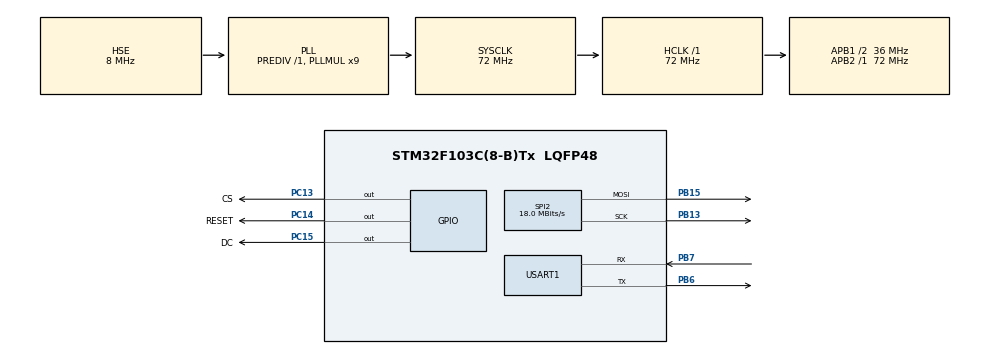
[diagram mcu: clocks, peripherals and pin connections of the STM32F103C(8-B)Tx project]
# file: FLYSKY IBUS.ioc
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Dma.Request0=USART1_RX
Dma.USART1_RX.0.Direction=DMA_PERIPH_TO_MEMORY
Dma.USART1_RX.0.Instance=DMA1_Channel5
Dma.USART1_RX.0.MemDataAlignment=DMA_MDATAALIGN_BYTE
Dma.USART1_RX.0.MemInc=DMA_MINC_ENABLE
Dma.USART1_RX.0.Mode=DMA_NORMAL
Dma.USART1_RX.0.PeriphDataAlignment=DMA_PDATAALIGN_BYTE
Dma.USART1_RX.0.PeriphInc=DMA_PINC_DISABLE
Dma.USART1_RX.0.Priority=DMA_PRIORITY_LOW
Mcu.Family=STM32F1
Mcu.Name=STM32F103C(8-B)Tx
Mcu.Package=LQFP48
NVIC.DMA1_Channel5_IRQn=true\:0\:0\:false\:false\:true\:false\:true\:true
NVIC.PriorityGroup=NVIC_PRIORITYGROUP_4
PB13.Mode=TX_Only_Simplex_Unidirect_Master
PB13.Signal=SPI2_SCK
PB15.Mode=TX_Only_Simplex_Unidirect_Master
PB15.Signal=SPI2_MOSI
PB6.Mode=Asynchronous
PB6.Signal=USART1_TX
PB7.Mode=Asynchronous
PB7.Signal=USART1_RX
PC13-TAMPER-RTC.GPIO_Label=CS
PC13-TAMPER-RTC.Signal=GPIO_Output
PC14-OSC32_IN.GPIO_Label=RESET
PC14-OSC32_IN.Signal=GPIO_Output
PC15-OSC32_OUT.GPIO_Label=DC
PC15-OSC32_OUT.Signal=GPIO_Output
PD0-OSC_IN.Mode=HSE-External-Oscillator
PD0-OSC_IN.Signal=RCC_OSC_IN
PD1-OSC_OUT.Mode=HSE-External-Oscillator
PD1-OSC_OUT.Signal=RCC_OSC_OUT
ProjectManager.HeapSize=0x200
ProjectManager.StackSize=0x400
ProjectManager.TargetToolchain=STM32CubeIDE
RCC.AHBFreq_Value=72000000
RCC.APB1CLKDivider=RCC_HCLK_DIV2
RCC.APB1Freq_Value=36000000
RCC.APB1TimFreq_Value=72000000
RCC.APB2Freq_Value=72000000
RCC.APB2TimFreq_Value=72000000
RCC.HCLKFreq_Value=72000000
RCC.PLLMUL=RCC_PLL_MUL9
RCC.PLLSourceVirtual=RCC_PLLSOURCE_HSE
RCC.SYSCLKFreq_VALUE=72000000
RCC.SYSCLKSource=RCC_SYSCLKSOURCE_PLLCLK
RCC.USBFreq_Value=72000000
SPI2.CalculateBaudRate=18.0 MBits/s
SPI2.Direction=SPI_DIRECTION_2LINES
SPI2.Mode=SPI_MODE_MASTER
SPI2.VirtualType=VM_MASTER
USART1.VirtualMode=VM_ASYNC
board=custom

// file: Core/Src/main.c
/* USER CODE BEGIN Header */
/**
  ******************************************************************************
  * @file           : main.c
  * @brief          : Main program body
  ******************************************************************************
  * @attention
  *
  * Copyright (c) 2024 STMicroelectronics.
  * All rights reserved.
  *
  * This software is licensed under terms that can be found in the LICENSE file
  * in the root directory of this software component.
  * If no LICENSE file comes with this software, it is provided AS-IS.
  *
  ******************************************************************************
  */
/* USER CODE END Header */
#include "main.h"

/* USER CODE BEGIN Includes */
#include <stdio.h>
#include <ILI9341.h>
#include "J3_IBUS_FLYSKY.h"

#include "008_Open_Sans_Bold.h"
#include "009_Open_Sans_Bold.h"
#include "010_Open_Sans_Bold.h"
#include "012_Open_Sans_Bold.h"
#include "014_Open_Sans_Bold.h"
#include "016_Open_Sans_Bold.h"
#include "018_Open_Sans_Bold.h"
#include "020_Open_Sans_Bold.h"
#include "022_Open_Sans_Bold.h"
#include "024_Open_Sans_Bold.h"
#include "026_Open_Sans_Bold.h"
#include "028_Open_Sans_Bold.h"
#include "036_Open_Sans_Bold.h"
#include "048_Open_Sans_Bold.h"
#include "072_Open_Sans_Bold.h"
#include "096_Open_Sans_Bold.h"
#include "112_Open_Sans_Bold.h"
#include "128_Open_Sans_Bold.h"

#define _Open_Sans_Bold_8      &Open_Sans_Bold_8
#define _Open_Sans_Bold_9      &Open_Sans_Bold_9
#define _Open_Sans_Bold_10     &Open_Sans_Bold_10
#define _Open_Sans_Bold_11     &Open_Sans_Bold_11
#define _Open_Sans_Bold_12      &Open_Sans_Bold_12
#define _Open_Sans_Bold_14      &Open_Sans_Bold_14
#define _Open_Sans_Bold_16      &Open_Sans_Bold_16
#define _Open_Sans_Bold_18      &Open_Sans_Bold_18
#define _Open_Sans_Bold_20      &Open_Sans_Bold_20
#define _Open_Sans_Bold_22      &Open_Sans_Bold_22
#define _Open_Sans_Bold_24      &Open_Sans_Bold_24
#define _Open_Sans_Bold_26      &Open_Sans_Bold_26
#define _Open_Sans_Bold_28      &Open_Sans_Bold_28
#define _Open_Sans_Bold_36      &Open_Sans_Bold_36
#define _Open_Sans_Bold_48      &Open_Sans_Bold_48
#define _Open_Sans_Bold_72      &Open_Sans_Bold_72
#define _Open_Sans_Bold_96      &Open_Sans_Bold_96
#define _Open_Sans_Bold_112      &Open_Sans_Bold_112
#define _Open_Sans_Bold_128      &Open_Sans_Bold_128

char buf[20];
char buf1[20];
char buf2[20];
char buf3[20];
char buf4[20];
char buf5[20];
TRxIBus *RxIBus;
/* USER CODE END Includes */

SPI_HandleTypeDef hspi2;

UART_HandleTypeDef huart1;
DMA_HandleTypeDef hdma_usart1_rx;

void SystemClock_Config(void);
static void MX_GPIO_Init(void);
static void MX_DMA_Init(void);
static void MX_SPI2_Init(void);
static void MX_USART1_UART_Init(void);

int main(void)
{

  /* MCU Configuration--------------------------------------------------------*/

  /* Reset of all peripherals, Initializes the Flash interface and the Systick. */
  HAL_Init();

  /* Configure the system clock */
  SystemClock_Config();

  /* Initialize all configured peripherals */
  MX_GPIO_Init();
  MX_DMA_Init();
  MX_SPI2_Init();
  MX_USART1_UART_Init();
  /* USER CODE BEGIN 2 */
  ILI9341_Init();
  ILI9341_FillScreen(WHITE);

  LCD_Font(10, 30, "CHANNEL1", _Open_Sans_Bold_36  , 1, PURPLE);
  LCD_Font(10, 70, "CHANNEL2", _Open_Sans_Bold_36  , 1, BLUE);
  LCD_Font(10, 110, "CHANNEL3", _Open_Sans_Bold_36  , 1, GREEN);
  LCD_Font(10, 150, "CHANNEL4", _Open_Sans_Bold_36  , 1, RED);
  LCD_Font(10, 190, "CHANNEL5", _Open_Sans_Bold_36  , 1, MAGENTA);
  LCD_Font(10, 230, "CHANNEL6", _Open_Sans_Bold_36  , 1, ORANGE);

  RxIBus = J3_IBUS_new(&huart1, 14);

  HAL_UART_Receive_DMA(&huart1, RxIBus->buffer, 64);
  /* USER CODE END 2 */

  /* Infinite loop */
  while (1)
  {
	  HAL_UART_Transmit(&huart1, "CH1:", 4, 100);
	  LCD_Font(230, 30, buf, _Open_Sans_Bold_36  , 1, WHITE);
	  sprintf(buf, "%d", J3_IBUS_GetCh(RxIBus, 1));
	  HAL_UART_Transmit(&huart1, (char*)buf, sprintf(buf, "%d", J3_IBUS_GetCh(RxIBus, 1)), 100);
	  HAL_UART_Transmit(&huart1, "\r\n", 2, 100);
//	  ILI9341_printText(str, 0, 0, COLOR_WHITE, COLOR_BLACK, 1);
	  LCD_Font(230, 30, buf, _Open_Sans_Bold_36  , 1, PURPLE);

	  HAL_UART_Transmit(&huart1, "CH2:", 4, 100);
	  LCD_Font(230, 70, buf1, _Open_Sans_Bold_36  , 1, WHITE);
	  sprintf(buf1, "%d", J3_IBUS_GetCh(RxIBus, 2));
	  HAL_UART_Transmit(&huart1, (char*)buf1, sprintf(buf1, "%d", J3_IBUS_GetCh(RxIBus, 2)), 100);
	  HAL_UART_Transmit(&huart1, "\r\n", 2, 100);
//	  ILI9341_printText(buf1, 0, 20, COLOR_WHITE, COLOR_BLACK, 1);
	  LCD_Font(230, 70, buf1, _Open_Sans_Bold_36  , 1, BLUE);

	  HAL_UART_Transmit(&huart1, "CH3:", 4, 100);
	  LCD_Font(230, 110, buf2, _Open_Sans_Bold_36  , 1, WHITE);
	  sprintf(buf2, "%d", J3_IBUS_GetCh(RxIBus, 3));
	  HAL_UART_Transmit(&huart1, (char*)buf2, sprintf(buf2, "%d", J3_IBUS_GetCh(RxIBus, 3)), 100);
	  HAL_UART_Transmit(&huart1, "\r\n", 2, 100);
//	  ILI9341_printText(str, 0, 40, COLOR_WHITE, COLOR_BLACK, 1);
	  LCD_Font(230, 110, buf2, _Open_Sans_Bold_36  , 1, GREEN);

	  HAL_UART_Transmit(&huart1, "CH4:", 4, 100);
	  LCD_Font(230, 150, buf3, _Open_Sans_Bold_36  , 1, WHITE);
	  sprintf(buf3, "%d", J3_IBUS_GetCh(RxIBus, 4));
	  HAL_UART_Transmit(&huart1, (char*)buf3, sprintf(buf3, "%d", J3_IBUS_GetCh(RxIBus, 4)), 100);
	  HAL_UART_Transmit(&huart1, "\r\n", 2, 100);
//	  ILI9341_printText(str, 0, 60, COLOR_WHITE, COLOR_BLACK, 1);
	  LCD_Font(230, 150, buf3, _Open_Sans_Bold_36  , 1, RED);

	  HAL_UART_Transmit(&huart1, "CH4:", 4, 100);
	  LCD_Font(230, 190, buf4, _Open_Sans_Bold_36  , 1, WHITE);
	  sprintf(buf4, "%d", J3_IBUS_GetCh(RxIBus, 5));
	  HAL_UART_Transmit(&huart1, (char*)buf4, sprintf(buf4, "%d", J3_IBUS_GetCh(RxIBus, 5)), 100);
	  HAL_UART_Transmit(&huart1, "\r\n", 2, 100);
//	  ILI9341_printText(str, 0, 80, COLOR_WHITE, COLOR_BLACK, 1);
	  LCD_Font(230, 190, buf4, _Open_Sans_Bold_36  , 1, MAGENTA);

	  HAL_UART_Transmit(&huart1, "CH4:", 4, 100);
	  LCD_Font(230, 230, buf5, _Open_Sans_Bold_36  , 1, WHITE);
	  sprintf(buf5, "%d", J3_IBUS_GetCh(RxIBus, 6));
	  HAL_UART_Transmit(&huart1, (char*)buf5, sprintf(buf5, "%d", J3_IBUS_GetCh(RxIBus, 6)), 100);
	  HAL_UART_Transmit(&huart1, "\r\n", 2, 100);
//	  ILI9341_printText(str, 0, 100, COLOR_WHITE, COLOR_BLACK, 1);
	  LCD_Font(230, 230, buf5, _Open_Sans_Bold_36  , 1, ORANGE);

	  HAL_UART_Transmit(&huart1, RxIBus->buffer, 64, 100);
	  HAL_UART_Transmit(&huart1, "\r\n", 2, 100);
//	  ILI9341_printText(str, 0, 60, COLOR_WHITE, COLOR_BLACK, 1);

	  HAL_Delay(100);
  }
}

void SystemClock_Config(void)
{
  RCC_OscInitTypeDef RCC_OscInitStruct = {0};
  RCC_ClkInitTypeDef RCC_ClkInitStruct = {0};

  /** Initializes the RCC Oscillators according to the specified parameters
  * in the RCC_OscInitTypeDef structure.
  */
  RCC_OscInitStruct.OscillatorType = RCC_OSCILLATORTYPE_HSE;
  RCC_OscInitStruct.HSEState = RCC_HSE_ON;
  RCC_OscInitStruct.HSEPredivValue = RCC_HSE_PREDIV_DIV1;
  RCC_OscInitStruct.HSIState = RCC_HSI_ON;
  RCC_OscInitStruct.PLL.PLLState = RCC_PLL_ON;
  RCC_OscInitStruct.PLL.PLLSource = RCC_PLLSOURCE_HSE;
  RCC_OscInitStruct.PLL.PLLMUL = RCC_PLL_MUL9;
  if (HAL_RCC_OscConfig(&RCC_OscInitStruct) != HAL_OK)
  {
    Error_Handler();
  }

  /** Initializes the CPU, AHB and APB buses clocks
  */
  RCC_ClkInitStruct.ClockType = RCC_CLOCKTYPE_HCLK|RCC_CLOCKTYPE_SYSCLK
                              |RCC_CLOCKTYPE_PCLK1|RCC_CLOCKTYPE_PCLK2;
  RCC_ClkInitStruct.SYSCLKSource = RCC_SYSCLKSOURCE_PLLCLK;
  RCC_ClkInitStruct.AHBCLKDivider = RCC_SYSCLK_DIV1;
  RCC_ClkInitStruct.APB1CLKDivider = RCC_HCLK_DIV2;
  RCC_ClkInitStruct.APB2CLKDivider = RCC_HCLK_DIV1;

  if (HAL_RCC_ClockConfig(&RCC_ClkInitStruct, FLASH_LATENCY_2) != HAL_OK)
  {
    Error_Handler();
  }
}

static void MX_SPI2_Init(void)
{

  /* SPI2 parameter configuration*/
  hspi2.Instance = SPI2;
  hspi2.Init.Mode = SPI_MODE_MASTER;
  hspi2.Init.Direction = SPI_DIRECTION_2LINES;
  hspi2.Init.DataSize = SPI_DATASIZE_8BIT;
  hspi2.Init.CLKPolarity = SPI_POLARITY_LOW;
  hspi2.Init.CLKPhase = SPI_PHASE_1EDGE;
  hspi2.Init.NSS = SPI_NSS_SOFT;
  hspi2.Init.BaudRatePrescaler = SPI_BAUDRATEPRESCALER_2;
  hspi2.Init.FirstBit = SPI_FIRSTBIT_MSB;
  hspi2.Init.TIMode = SPI_TIMODE_DISABLE;
  hspi2.Init.CRCCalculation = SPI_CRCCALCULATION_DISABLE;
  hspi2.Init.CRCPolynomial = 10;
  if (HAL_SPI_Init(&hspi2) != HAL_OK)
  {
    Error_Handler();
  }

}

static void MX_USART1_UART_Init(void)
{

  huart1.Instance = USART1;
  huart1.Init.BaudRate = 115200;
  huart1.Init.WordLength = UART_WORDLENGTH_8B;
  huart1.Init.StopBits = UART_STOPBITS_1;
  huart1.Init.Parity = UART_PARITY_NONE;
  huart1.Init.Mode = UART_MODE_TX_RX;
  huart1.Init.HwFlowCtl = UART_HWCONTROL_NONE;
  huart1.Init.OverSampling = UART_OVERSAMPLING_16;
  if (HAL_UART_Init(&huart1) != HAL_OK)
  {
    Error_Handler();
  }

}

static void MX_DMA_Init(void)
{

  /* DMA controller clock enable */
  __HAL_RCC_DMA1_CLK_ENABLE();

  /* DMA interrupt init */
  /* DMA1_Channel5_IRQn interrupt configuration */
  HAL_NVIC_SetPriority(DMA1_Channel5_IRQn, 0, 0);
  HAL_NVIC_EnableIRQ(DMA1_Channel5_IRQn);

}

static void MX_GPIO_Init(void)
{
  GPIO_InitTypeDef GPIO_InitStruct = {0};

  /* GPIO Ports Clock Enable */
  __HAL_RCC_GPIOC_CLK_ENABLE();
  __HAL_RCC_GPIOD_CLK_ENABLE();
  __HAL_RCC_GPIOB_CLK_ENABLE();

  /*Configure GPIO pin Output Level */
  HAL_GPIO_WritePin(GPIOC, CS_Pin|RESET_Pin|DC_Pin, GPIO_PIN_RESET);

  /*Configure GPIO pins : CS_Pin RESET_Pin DC_Pin */
  GPIO_InitStruct.Pin = CS_Pin|RESET_Pin|DC_Pin;
  GPIO_InitStruct.Mode = GPIO_MODE_OUTPUT_PP;
  GPIO_InitStruct.Pull = GPIO_NOPULL;
  GPIO_InitStruct.Speed = GPIO_SPEED_FREQ_LOW;
  HAL_GPIO_Init(GPIOC, &GPIO_InitStruct);

}

/* USER CODE BEGIN 4 */
void HAL_UART_RxCpltCallback(UART_HandleTypeDef *huart){

  J3_IBUS_ProcessBuffer(RxIBus);
  HAL_UART_Receive_DMA(&huart1, RxIBus->buffer, 64);
}
/* USER CODE END 4 */

void Error_Handler(void)
{
  __disable_irq();
  while (1)
  {
  }
}
